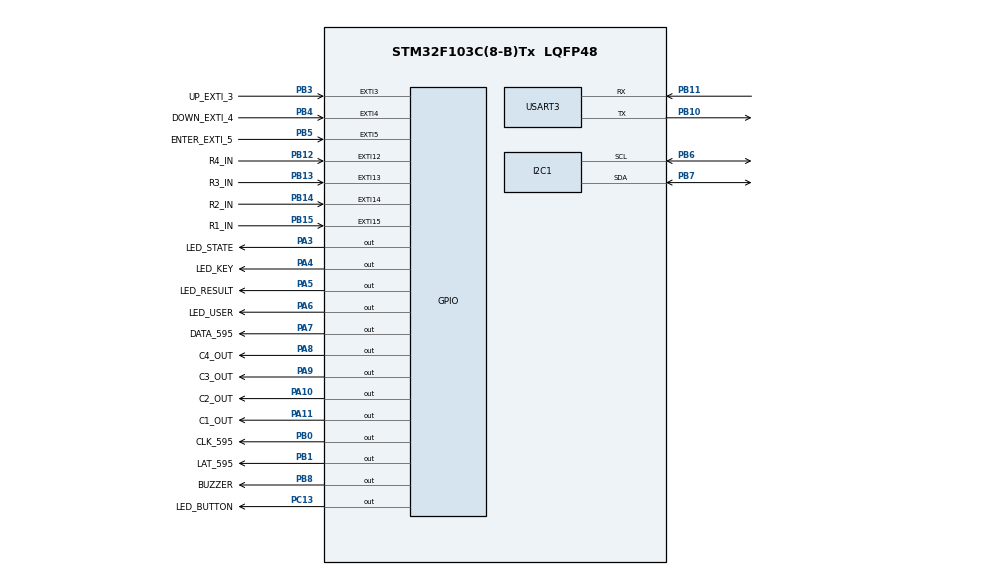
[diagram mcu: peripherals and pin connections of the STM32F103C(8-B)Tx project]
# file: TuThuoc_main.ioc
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Mcu.Family=STM32F1
Mcu.Name=STM32F103C(8-B)Tx
Mcu.Package=LQFP48
NVIC.EXTI15_10_IRQn=true\:5\:0\:true\:false\:true\:true\:true\:true
NVIC.EXTI3_IRQn=true\:5\:0\:true\:false\:true\:true\:true\:true
NVIC.EXTI4_IRQn=true\:5\:0\:true\:false\:true\:true\:true\:true
NVIC.EXTI9_5_IRQn=true\:5\:0\:true\:false\:true\:true\:true\:true
NVIC.PriorityGroup=NVIC_PRIORITYGROUP_4
NVIC.USART3_IRQn=true\:0\:0\:false\:false\:true\:true\:true\:true
PA10.GPIO_Label=C2_OUT
PA10.GPIO_PuPd=GPIO_PULLDOWN
PA10.Signal=GPIO_Output
PA11.GPIO_Label=C1_OUT
PA11.GPIO_PuPd=GPIO_PULLDOWN
PA11.Signal=GPIO_Output
PA13.Mode=Serial_Wire
PA13.Signal=SYS_JTMS-SWDIO
PA14.Mode=Serial_Wire
PA14.Signal=SYS_JTCK-SWCLK
PA3.GPIO_Label=LED_STATE
PA3.GPIO_PuPd=GPIO_PULLUP
PA3.Signal=GPIO_Output
PA4.GPIO_Label=LED_KEY
PA4.GPIO_PuPd=GPIO_PULLUP
PA4.Signal=GPIO_Output
PA5.GPIO_Label=LED_RESULT
PA5.GPIO_PuPd=GPIO_PULLUP
PA5.Signal=GPIO_Output
PA6.GPIO_Label=LED_USER
PA6.GPIO_PuPd=GPIO_PULLUP
PA6.Signal=GPIO_Output
PA7.GPIO_Label=DATA_595
PA7.Signal=GPIO_Output
PA8.GPIO_Label=C4_OUT
PA8.GPIO_PuPd=GPIO_PULLDOWN
PA8.Signal=GPIO_Output
PA9.GPIO_Label=C3_OUT
PA9.GPIO_PuPd=GPIO_PULLDOWN
PA9.Signal=GPIO_Output
PB0.GPIO_Label=CLK_595
PB0.Signal=GPIO_Output
PB1.GPIO_Label=LAT_595
PB1.Signal=GPIO_Output
PB10.Mode=Asynchronous
PB10.Signal=USART3_TX
PB11.Mode=Asynchronous
PB11.Signal=USART3_RX
PB12.GPIO_Label=R4_IN
PB12.GPIO_ModeDefaultEXTI=GPIO_MODE_IT_FALLING
PB12.GPIO_PuPd=GPIO_PULLUP
PB12.Signal=GPXTI12
PB13.GPIO_Label=R3_IN
PB13.GPIO_ModeDefaultEXTI=GPIO_MODE_IT_FALLING
PB13.GPIO_PuPd=GPIO_PULLUP
PB13.Signal=GPXTI13
PB14.GPIO_Label=R2_IN
PB14.GPIO_ModeDefaultEXTI=GPIO_MODE_IT_FALLING
PB14.GPIO_PuPd=GPIO_PULLUP
PB14.Signal=GPXTI14
PB15.GPIO_Label=R1_IN
PB15.GPIO_ModeDefaultEXTI=GPIO_MODE_IT_FALLING
PB15.GPIO_PuPd=GPIO_PULLUP
PB15.Signal=GPXTI15
PB3.GPIO_Label=UP_EXTI_3
PB3.GPIO_ModeDefaultEXTI=GPIO_MODE_IT_FALLING
PB3.GPIO_PuPd=GPIO_PULLUP
PB3.Signal=GPXTI3
PB4.GPIO_Label=DOWN_EXTI_4
PB4.GPIO_ModeDefaultEXTI=GPIO_MODE_IT_FALLING
PB4.GPIO_PuPd=GPIO_PULLUP
PB4.Signal=GPXTI4
PB5.GPIO_Label=ENTER_EXTI_5
PB5.GPIO_ModeDefaultEXTI=GPIO_MODE_IT_FALLING
PB5.GPIO_PuPd=GPIO_PULLUP
PB5.Signal=GPXTI5
PB6.Mode=I2C
PB6.Signal=I2C1_SCL
PB7.Mode=I2C
PB7.Signal=I2C1_SDA
PB8.GPIO_Label=BUZZER
PB8.Signal=GPIO_Output
PC13-TAMPER-RTC.GPIO_Label=LED_BUTTON
PC13-TAMPER-RTC.Signal=GPIO_Output
ProjectManager.HeapSize=0x200
ProjectManager.StackSize=0x400
ProjectManager.TargetToolchain=STM32CubeIDE
RCC.APB1Freq_Value=8000000
RCC.APB2Freq_Value=8000000
USART3.VirtualMode=VM_ASYNC
board=custom

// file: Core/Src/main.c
/* USER CODE BEGIN Header */
/**
  ******************************************************************************
  * @file           : main.c
  * @brief          : Main program body
  ******************************************************************************
  * @attention
  *
  * Copyright (c) 2024 STMicroelectronics.
  * All rights reserved.
  *
  * This software is licensed under terms that can be found in the LICENSE file
  * in the root directory of this software component.
  * If no LICENSE file comes with this software, it is provided AS-IS.
  *
  ******************************************************************************
  */
/* USER CODE END Header */
#include "main.h"

/* USER CODE BEGIN Includes */
#include<KeyPad.h>
#include<lcd_user.h>
#include<handler_keyIN.h>
#include<uart_user.h>
#include "EEPROM.h"
#include <fet_74hc595.h>
/* USER CODE END Includes */

/* USER CODE BEGIN PD */
#define MEM_ADDR    0x00u
/* USER CODE END PD */

I2C_HandleTypeDef hi2c1;

UART_HandleTypeDef huart3;

void SystemClock_Config(void);
static void MX_GPIO_Init(void);
static void MX_I2C1_Init(void);
static void MX_USART3_UART_Init(void);

/* USER CODE BEGIN 0 */
STATE_SELECT_BUTTON_HANDLER_TYPEDEF state_button = BUTTON;

GPIO_COLUMN_TYPEDEF COL_KEY_PAD_main;
GPIO_ROW_TYPEDEF 	ROW_KEY_PAD_main;

char key = 0;
char pin_IN[5] = {0};
char pin_IN_UART[5] = {0};
char num_IN_UART = 0;

bool writeStatus = false;
bool readStatus = false;
bool eraseStatus = false;
uint8_t  wData[] = "Hello World 123";
uint8_t  rData[25];

uint8_t relay_uartCont = 0;
volatile char rxByte = 0;
uint8_t rxBuffer[20]={0};
volatile uint8_t rxBufferIndex = 0;
volatile uint8_t flag_rx_done = 0;

void HAL_GPIO_EXTI_Callback(uint16_t GPIO_Pin)
{
	static uint32_t TimeBegin = 0;
	static uint32_t TimeNow = 0;
/*CODE ISR*/
	/*flag keypad*/
	if(((R1_IN_Pin == GPIO_Pin) | (R2_IN_Pin == GPIO_Pin) | (R3_IN_Pin == GPIO_Pin) | (R4_IN_Pin == GPIO_Pin)) && (state_button == KEYPAD))
	{
		flag_keypad = 1;
		key = KEYPAD_Handler(&COL_KEY_PAD_main, &ROW_KEY_PAD_main);
	}
	/*flag lcd*/
	if(state_button == BUTTON)
	{
		if(UP_EXTI_3_Pin == GPIO_Pin)
		{
			flag_button = 1;
			Config++;
			if(Config > CONFIG_ROW3) Config = CONFIG_ROW1;
		}
		else if(DOWN_EXTI_4_Pin == GPIO_Pin)
		{
			flag_button = 1;
			Config--;
			if(Config < CONFIG_ROW1) Config = CONFIG_ROW3;
		}
		else if(ENTER_EXTI_5_Pin == GPIO_Pin)
		{
			flag_button = 1;
			if(1 == Mode)
			{
				Enter = 1;
			}
			else
			{
				Mode = 1;
			}
		}
	}
	/*END CODE ISR*/

	HAL_Delay(20);
	TimeBegin = HAL_GetTick();
	while(		HAL_GPIO_ReadPin(GPIOB, UP_EXTI_3_Pin) == GPIO_PIN_RESET		\
			|| 	HAL_GPIO_ReadPin(GPIOB, DOWN_EXTI_4_Pin) == GPIO_PIN_RESET 		\
			|| 	HAL_GPIO_ReadPin(GPIOB, ENTER_EXTI_5_Pin) == GPIO_PIN_RESET		\
			|| 	HAL_GPIO_ReadPin(R1_IN_GPIO_Port, R1_IN_Pin) == GPIO_PIN_RESET		\
			|| 	HAL_GPIO_ReadPin(R2_IN_GPIO_Port, R2_IN_Pin) == GPIO_PIN_RESET 		\
			|| 	HAL_GPIO_ReadPin(R3_IN_GPIO_Port, R3_IN_Pin) == GPIO_PIN_RESET		\
			|| 	HAL_GPIO_ReadPin(R4_IN_GPIO_Port, R4_IN_Pin) == GPIO_PIN_RESET)
	{
		TimeNow = HAL_GetTick();
		if(TimeNow - TimeBegin == 5000)
		{
//			ButtonError = 1;
			break;
		}
	}
	HAL_Delay(20);
	EXTI->PR = ENTER_EXTI_5_Pin | DOWN_EXTI_4_Pin | UP_EXTI_3_Pin \
			| R1_IN_Pin | R2_IN_Pin |R3_IN_Pin | R4_IN_Pin;
}

void HAL_UART_RxCpltCallback(UART_HandleTypeDef *huart)
{
	if(rxByte == '\r')
	{
		flag_rx_done = 1;
	}
	else
	{
		rxBuffer[rxBufferIndex] = rxByte;
		rxBufferIndex++;
	}
	if(rxBufferIndex >= 20)
	{
		rxBufferIndex = 0;
	}
	HAL_UART_Receive_IT(&huart3, (uint8_t*)&rxByte, 1);
}
/* USER CODE END 0 */

int main(void)
{
  /* USER CODE BEGIN 1 */
	CLCD_I2C_Name LCD1;
  /* USER CODE END 1 */

  /* MCU Configuration--------------------------------------------------------*/

  /* Reset of all peripherals, Initializes the Flash interface and the Systick. */
  HAL_Init();

  /* Configure the system clock */
  SystemClock_Config();

  /* Initialize all configured peripherals */
  MX_GPIO_Init();
  MX_I2C1_Init();
  MX_USART3_UART_Init();
  /* USER CODE BEGIN 2 */

  // INIT HAL lib
  HAL_UART_Receive_IT(&huart3, (uint8_t*)&rxByte, 1);

  // INIT user
  KeyPad_Init(		// Cpl pin + port
				    &COL_KEY_PAD_main, &ROW_KEY_PAD_main,												\
					C1_OUT_GPIO_Port, C2_OUT_GPIO_Port, C3_OUT_GPIO_Port, C4_OUT_GPIO_Port,				\
					C1_OUT_Pin, C2_OUT_Pin, C3_OUT_Pin, C4_OUT_Pin,										\
					// Row pin + port
					R1_IN_GPIO_Port, R2_IN_GPIO_Port, R3_IN_GPIO_Port, R4_IN_GPIO_Port,					\
					R1_IN_Pin, R2_IN_Pin, R3_IN_Pin, R4_IN_Pin
			  );
  CLCD_I2C_Init(&LCD1, &hi2c1, (0x27 << 1), 20, 4);

  at24_I2C_Init(hi2c1);

  UART_Init_UART(&huart3);

  FET_74HC595_Init(DATA_595_GPIO_Port, CLK_595_GPIO_Port, LAT_595_GPIO_Port, DATA_595_Pin, CLK_595_Pin, LAT_595_Pin);

  if(at24_isConnected())
  {
	  readStatus = at24_read(MEM_ADDR,rData, 15, 100);
	  HAL_Delay(10);
  }

  HAL_GPIO_WritePin(LED_KEY_GPIO_Port, LED_KEY_Pin, GPIO_PIN_SET);
  HAL_GPIO_WritePin(LED_BUTTON_GPIO_Port, LED_BUTTON_Pin, GPIO_PIN_SET);
  HAL_GPIO_WritePin(LED_RESULT_GPIO_Port, LED_RESULT_Pin, GPIO_PIN_SET);
  HAL_GPIO_WritePin(LED_STATE_GPIO_Port, LED_STATE_Pin, GPIO_PIN_SET);
  HAL_GPIO_WritePin(LED_USER_GPIO_Port, LED_USER_Pin, GPIO_PIN_SET);
  /* USER CODE END 2 */

  /* Infinite loop */
  /* USER CODE BEGIN WHILE */
  while (1)
  {
	  /*Debug key*/
	  if(flag_keypad == 1)
	  {
		  flag_keypad = 0;
		  HAL_GPIO_TogglePin(LED_KEY_GPIO_Port, LED_KEY_Pin);
	  }
	  else if(flag_button == 1)
	  {
		  //flag_button = 0;
		  HAL_GPIO_TogglePin(LED_BUTTON_GPIO_Port, LED_BUTTON_Pin);
	  }

	  /*UART handler after uart rx is exexecuted*/
	  if(flag_rx_done == 1)
	  {
		  flag_rx_done = 0;
		  HAL_GPIO_TogglePin(LED_RESULT_GPIO_Port, LED_RESULT_Pin);
		  /*function handler uart*/
		  if(UART_handler(rxBuffer, &relay_uartCont, &num_IN_UART, pin_IN_UART) == UART_HANDLER_OKE);
		  /*Reset arr rx*/
		  for(uint8_t i =0; i < sizeof(rxBuffer); i++)
		  {
			  rxBuffer[i] = 0;
		  	  rxBufferIndex = 0;
		  }
	  }

	  /*Enter key and display on LCD pass/num*/
	  if(handler_keyIN_enterKey_DisplayLCD(&LCD1, state_button, &key, pin_IN) == KEY_OK)
	  {
		  state_hand = handler_keyIN_CheckPIN_NUM(pin_IN, &num_set_fet);
		  if(state_hand == PASS_OKE && num_set_fet != 0)
		  {
			  FET_74HC595_Set_Reset(0x01 << (num_set_fet));
			  HAL_Delay(1000);
			  FET_74HC595_Set_Reset(RESET_ALL_FET);
		  }
	  }
	  if(relay_uartCont > 0 && relay_uartCont <= 7)
	  {
		  FET_74HC595_Set_Reset(0x01 << (relay_uartCont));
		  HAL_Delay(1000);
		  FET_74HC595_Set_Reset(RESET_ALL_FET+1);
		  relay_uartCont = 0;
	  }

	  /*Chuyển đổi chế độ ch�?n kiểu nút nhấn thao tác màng hình*/
	  if((enter_num_pass.signal_enter_pass == PROCESSING) || (enter_num_pass.signal_enter_num == PROCESSING))
	  {
		  state_star_pass = NONE_STAR;
		  state_button = KEYPAD;
	  }
	  else
	  {
		  state_button = BUTTON;
	  }
	  lcd_system_handler(&LCD1);
    /* USER CODE END WHILE */

  }
}

void SystemClock_Config(void)
{
  RCC_OscInitTypeDef RCC_OscInitStruct = {0};
  RCC_ClkInitTypeDef RCC_ClkInitStruct = {0};

  /** Initializes the RCC Oscillators according to the specified parameters
  * in the RCC_OscInitTypeDef structure.
  */
  RCC_OscInitStruct.OscillatorType = RCC_OSCILLATORTYPE_HSI;
  RCC_OscInitStruct.HSIState = RCC_HSI_ON;
  RCC_OscInitStruct.HSICalibrationValue = RCC_HSICALIBRATION_DEFAULT;
  RCC_OscInitStruct.PLL.PLLState = RCC_PLL_NONE;
  if (HAL_RCC_OscConfig(&RCC_OscInitStruct) != HAL_OK)
  {
    Error_Handler();
  }

  /** Initializes the CPU, AHB and APB buses clocks
  */
  RCC_ClkInitStruct.ClockType = RCC_CLOCKTYPE_HCLK|RCC_CLOCKTYPE_SYSCLK
                              |RCC_CLOCKTYPE_PCLK1|RCC_CLOCKTYPE_PCLK2;
  RCC_ClkInitStruct.SYSCLKSource = RCC_SYSCLKSOURCE_HSI;
  RCC_ClkInitStruct.AHBCLKDivider = RCC_SYSCLK_DIV1;
  RCC_ClkInitStruct.APB1CLKDivider = RCC_HCLK_DIV1;
  RCC_ClkInitStruct.APB2CLKDivider = RCC_HCLK_DIV1;

  if (HAL_RCC_ClockConfig(&RCC_ClkInitStruct, FLASH_LATENCY_0) != HAL_OK)
  {
    Error_Handler();
  }
}

static void MX_I2C1_Init(void)
{

  hi2c1.Instance = I2C1;
  hi2c1.Init.ClockSpeed = 100000;
  hi2c1.Init.DutyCycle = I2C_DUTYCYCLE_2;
  hi2c1.Init.OwnAddress1 = 0;
  hi2c1.Init.AddressingMode = I2C_ADDRESSINGMODE_7BIT;
  hi2c1.Init.DualAddressMode = I2C_DUALADDRESS_DISABLE;
  hi2c1.Init.OwnAddress2 = 0;
  hi2c1.Init.GeneralCallMode = I2C_GENERALCALL_DISABLE;
  hi2c1.Init.NoStretchMode = I2C_NOSTRETCH_DISABLE;
  if (HAL_I2C_Init(&hi2c1) != HAL_OK)
  {
    Error_Handler();
  }

}

static void MX_USART3_UART_Init(void)
{

  huart3.Instance = USART3;
  huart3.Init.BaudRate = 115200;
  huart3.Init.WordLength = UART_WORDLENGTH_8B;
  huart3.Init.StopBits = UART_STOPBITS_1;
  huart3.Init.Parity = UART_PARITY_NONE;
  huart3.Init.Mode = UART_MODE_TX_RX;
  huart3.Init.HwFlowCtl = UART_HWCONTROL_NONE;
  huart3.Init.OverSampling = UART_OVERSAMPLING_16;
  if (HAL_UART_Init(&huart3) != HAL_OK)
  {
    Error_Handler();
  }

}

static void MX_GPIO_Init(void)
{
  GPIO_InitTypeDef GPIO_InitStruct = {0};

  /* GPIO Ports Clock Enable */
  __HAL_RCC_GPIOC_CLK_ENABLE();
  __HAL_RCC_GPIOA_CLK_ENABLE();
  __HAL_RCC_GPIOB_CLK_ENABLE();

  /*Configure GPIO pin Output Level */
  HAL_GPIO_WritePin(LED_BUTTON_GPIO_Port, LED_BUTTON_Pin, GPIO_PIN_RESET);

  /*Configure GPIO pin Output Level */
  HAL_GPIO_WritePin(GPIOA, LED_STATE_Pin|LED_KEY_Pin|LED_RESULT_Pin|LED_USER_Pin
                          |DATA_595_Pin|C4_OUT_Pin|C3_OUT_Pin|C2_OUT_Pin
                          |C1_OUT_Pin, GPIO_PIN_RESET);

  /*Configure GPIO pin Output Level */
  HAL_GPIO_WritePin(GPIOB, CLK_595_Pin|LAT_595_Pin|BUZZER_Pin, GPIO_PIN_RESET);

  /*Configure GPIO pin : LED_BUTTON_Pin */
  GPIO_InitStruct.Pin = LED_BUTTON_Pin;
  GPIO_InitStruct.Mode = GPIO_MODE_OUTPUT_PP;
  GPIO_InitStruct.Pull = GPIO_NOPULL;
  GPIO_InitStruct.Speed = GPIO_SPEED_FREQ_LOW;
  HAL_GPIO_Init(LED_BUTTON_GPIO_Port, &GPIO_InitStruct);

  /*Configure GPIO pins : LED_STATE_Pin LED_KEY_Pin LED_RESULT_Pin LED_USER_Pin */
  GPIO_InitStruct.Pin = LED_STATE_Pin|LED_KEY_Pin|LED_RESULT_Pin|LED_USER_Pin;
  GPIO_InitStruct.Mode = GPIO_MODE_OUTPUT_PP;
  GPIO_InitStruct.Pull = GPIO_PULLUP;
  GPIO_InitStruct.Speed = GPIO_SPEED_FREQ_LOW;
  HAL_GPIO_Init(GPIOA, &GPIO_InitStruct);

  /*Configure GPIO pin : DATA_595_Pin */
  GPIO_InitStruct.Pin = DATA_595_Pin;
  GPIO_InitStruct.Mode = GPIO_MODE_OUTPUT_PP;
  GPIO_InitStruct.Pull = GPIO_NOPULL;
  GPIO_InitStruct.Speed = GPIO_SPEED_FREQ_LOW;
  HAL_GPIO_Init(DATA_595_GPIO_Port, &GPIO_InitStruct);

  /*Configure GPIO pins : CLK_595_Pin LAT_595_Pin BUZZER_Pin */
  GPIO_InitStruct.Pin = CLK_595_Pin|LAT_595_Pin|BUZZER_Pin;
  GPIO_InitStruct.Mode = GPIO_MODE_OUTPUT_PP;
  GPIO_InitStruct.Pull = GPIO_NOPULL;
  GPIO_InitStruct.Speed = GPIO_SPEED_FREQ_LOW;
  HAL_GPIO_Init(GPIOB, &GPIO_InitStruct);

  /*Configure GPIO pins : R4_IN_Pin R3_IN_Pin R2_IN_Pin R1_IN_Pin
                           UP_EXTI_3_Pin DOWN_EXTI_4_Pin ENTER_EXTI_5_Pin */
  GPIO_InitStruct.Pin = R4_IN_Pin|R3_IN_Pin|R2_IN_Pin|R1_IN_Pin
                          |UP_EXTI_3_Pin|DOWN_EXTI_4_Pin|ENTER_EXTI_5_Pin;
  GPIO_InitStruct.Mode = GPIO_MODE_IT_FALLING;
  GPIO_InitStruct.Pull = GPIO_PULLUP;
  HAL_GPIO_Init(GPIOB, &GPIO_InitStruct);

  /*Configure GPIO pins : C4_OUT_Pin C3_OUT_Pin C2_OUT_Pin C1_OUT_Pin */
  GPIO_InitStruct.Pin = C4_OUT_Pin|C3_OUT_Pin|C2_OUT_Pin|C1_OUT_Pin;
  GPIO_InitStruct.Mode = GPIO_MODE_OUTPUT_PP;
  GPIO_InitStruct.Pull = GPIO_PULLDOWN;
  GPIO_InitStruct.Speed = GPIO_SPEED_FREQ_LOW;
  HAL_GPIO_Init(GPIOA, &GPIO_InitStruct);

  /* EXTI interrupt init*/
  HAL_NVIC_SetPriority(EXTI3_IRQn, 5, 0);
  HAL_NVIC_EnableIRQ(EXTI3_IRQn);

  HAL_NVIC_SetPriority(EXTI4_IRQn, 5, 0);
  HAL_NVIC_EnableIRQ(EXTI4_IRQn);

  HAL_NVIC_SetPriority(EXTI9_5_IRQn, 5, 0);
  HAL_NVIC_EnableIRQ(EXTI9_5_IRQn);

  HAL_NVIC_SetPriority(EXTI15_10_IRQn, 5, 0);
  HAL_NVIC_EnableIRQ(EXTI15_10_IRQn);

}

void Error_Handler(void)
{
  __disable_irq();
  while (1)
  {
  }
}
